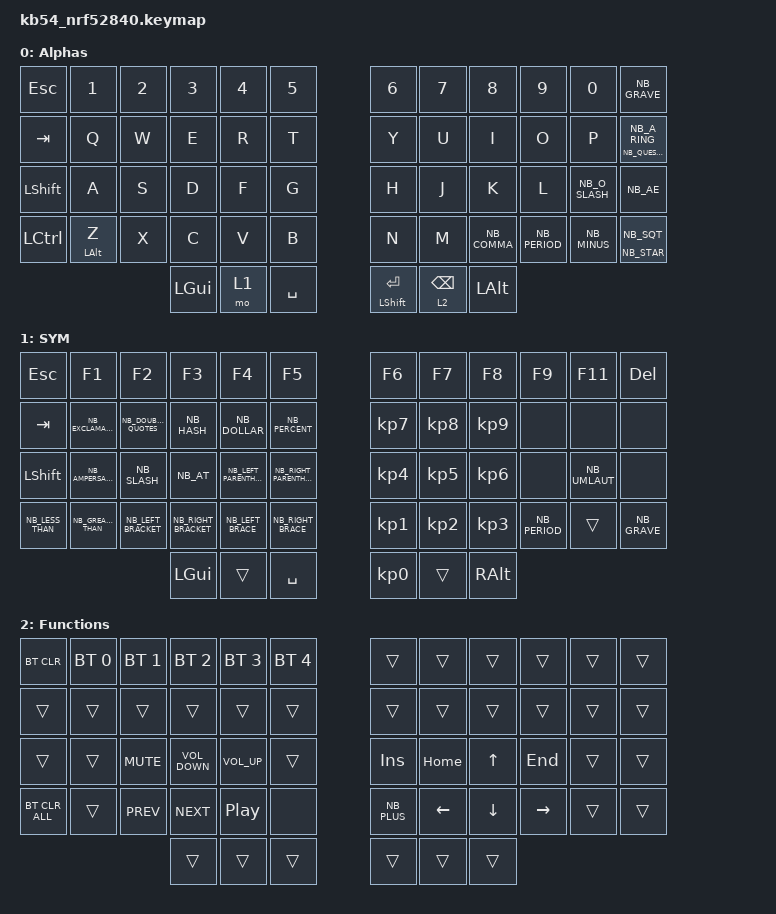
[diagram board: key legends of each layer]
/*
 * Copyright (c) 2020 The ZMK Contributors
 *
 * SPDX-License-Identifier: MIT
 */

#include "keys_nb.h"
#include <behaviors.dtsi>
#include <dt-bindings/zmk/bt.h>
#include <dt-bindings/zmk/keys.h>

/ {
    behaviors {
        hold_tap_kp_kp: hold_tap_kp_kp {
            compatible = "zmk,behavior-hold-tap";
            label = "HOLD_TAP_KP_KP";
            bindings = <&kp>, <&kp>;

            #binding-cells = <2>;
            tapping-term-ms = <150>;
            flavor = "balanced";
        };

        hold_tap_layer_kp: hold_tap_layer_kp {
            compatible = "zmk,behavior-hold-tap";
            label = "HOLD_TAP_LAYER_KP";
            bindings = <&mo>, <&kp>;

            #binding-cells = <2>;
            tapping-term-ms = <150>;
            flavor = "balanced";
        };
    };

    keymap {
        compatible = "zmk,keymap";

        Base_Layer {
            // -----------------------------------------------------------------------------------------
            // |   `  |  1  |  2  |  3  |  4  |  5  |   |  6  |  7   |  8  |  9  |  0  |  DEL |
            // |  TAB |  Q  |  W  |  E  |  R  |  T  |   |  Y  |  U   |  I  |  O  |  P  | BSPC |
            // | CTRL |  A  |  S  |  D  |  F  |  G  |   |  H  |  J   |  K  |  L  |  ;  |  '   |
            // | SHFT |  Z  |  X  |  C  |  V  |  B  |   |  N  |  M   |  ,  |  .  |  /  | ESC  |
            //                    | GUI | LWR | SPC |   | ENT | RSE  | ALT |

            bindings = <
&kp ESC         &kp N1                      &kp N2  &kp N3    &kp N4  &kp N5       &kp N6                            &kp N7                          &kp N8        &kp N9         &kp N0          &kp NB_GRAVE
&kp TAB         &kp Q                       &kp W   &kp E     &kp R   &kp T        &kp Y                             &kp U                           &kp I         &kp O          &kp P           &hold_tap_kp_kp NB_QUESTION NB_A_RING
&kp LEFT_SHIFT  &kp A                       &kp S   &kp D     &kp F   &kp G        &kp H                             &kp J                           &kp K         &kp L          &kp NB_O_SLASH  &kp NB_AE
&kp LCTRL       &hold_tap_kp_kp LEFT_ALT Z  &kp X   &kp C     &kp V   &kp B        &kp N                             &kp M                           &kp NB_COMMA  &kp NB_PERIOD  &kp NB_MINUS    &hold_tap_kp_kp NB_STAR NB_SQT
                                                    &kp LGUI  &mo 1   &kp SPACE    &hold_tap_kp_kp LEFT_SHIFT ENTER  &hold_tap_layer_kp 2 BACKSPACE  &kp LEFT_ALT
            >;

            label = "Alphas";
        };

        Symbols {
            display-name = "SYM";
            label = "Symbols";

            // -----------------------------------------------------------------------------------------
            // |   `  |  1  |  2  |  3  |  4  |  5  |   |  6  |  7  |  8  |  9  |  0  |  DEL |
            // |  TAB |  !  |  @  |  #  |  $  |  %  |   |  ^  |  &  |  *  |  (  |  )  | BSPC |
            // | BTCLR| BT1 | BT2 | BT3 | BT4 | BT5 |   | LFT | DWN |  UP | RGT |     |      |
            // | SHFT |     |     |     |     |     |   |     |     |     |     |     |      |
            //                    | GUI |     | SPC |   | ENT |     | ALT |

            bindings = <
&kp ESC           &kp F1               &kp F2                &kp F3                &kp F4                   &kp F5                      &kp F6     &kp F7     &kp F8     &kp F9         &kp F11        &kp DEL
&kp TAB           &kp NB_EXCLAMATION   &kp NB_DOUBLE_QUOTES  &kp NB_HASH           &kp NB_DOLLAR            &kp NB_PERCENT              &kp KP_N7  &kp KP_N8  &kp KP_N9  &none          &none          &none
&kp LEFT_SHIFT    &kp NB_AMPERSAND     &kp NB_SLASH          &kp NB_AT             &kp NB_LEFT_PARENTHESIS  &kp NB_RIGHT_PARENTHESIS    &kp KP_N4  &kp KP_N5  &kp KP_N6  &none          &kp NB_UMLAUT  &none
&kp NB_LESS_THAN  &kp NB_GREATER_THAN  &kp NB_LEFT_BRACKET   &kp NB_RIGHT_BRACKET  &kp NB_LEFT_BRACE        &kp NB_RIGHT_BRACE          &kp KP_N1  &kp KP_N2  &kp KP_N3  &kp NB_PERIOD  &trans         &kp NB_GRAVE
                                                             &kp LGUI              &trans                   &kp SPACE                   &kp KP_N0  &trans     &kp RALT
            >;
        };

        Functions {
            bindings = <
&bt BT_CLR      &bt BT_SEL 0  &bt BT_SEL 1  &bt BT_SEL 2       &bt BT_SEL 3     &bt BT_SEL 4    &trans       &trans          &trans    &trans     &trans  &trans
&trans          &trans        &trans        &trans             &trans           &trans          &trans       &trans          &trans    &trans     &trans  &trans
&trans          &trans        &kp C_MUTE    &kp C_VOLUME_DOWN  &kp C_VOLUME_UP  &trans          &kp INS      &kp HOME        &kp UP    &kp END    &trans  &trans
&bt BT_CLR_ALL  &trans        &kp C_PREV    &kp C_NEXT         &kp C_PP         &none           &kp NB_PLUS  &kp LEFT_ARROW  &kp DOWN  &kp RIGHT  &trans  &trans
                                            &trans             &trans           &trans          &trans       &trans          &trans
            >;

            label = "Functions";
        };
    };
};
